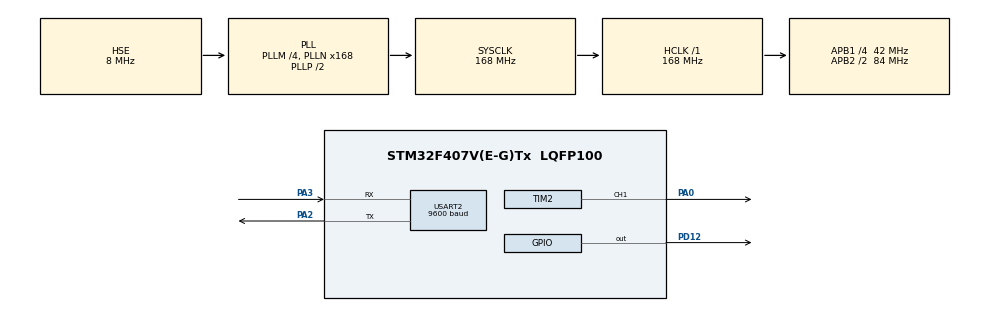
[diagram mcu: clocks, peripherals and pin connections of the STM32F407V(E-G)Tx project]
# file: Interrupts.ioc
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Mcu.Family=STM32F4
Mcu.Name=STM32F407V(E-G)Tx
Mcu.Package=LQFP100
NVIC.PriorityGroup=NVIC_PRIORITYGROUP_4
NVIC.TIM2_IRQn=true\:0\:0\:false\:false\:true\:true
NVIC.USART2_IRQn=true\:0\:0\:false\:false\:true\:true
PA0-WKUP.Signal=S_TIM2_CH1_ETR
PA13.Mode=Serial_Wire
PA13.Signal=SYS_JTMS-SWDIO
PA14.Mode=Serial_Wire
PA14.Signal=SYS_JTCK-SWCLK
PA2.Mode=Asynchronous
PA2.Signal=USART2_TX
PA3.Mode=Asynchronous
PA3.Signal=USART2_RX
PD12.Signal=GPIO_Output
PH0-OSC_IN.Mode=HSE-External-Oscillator
PH0-OSC_IN.Signal=RCC_OSC_IN
PH1-OSC_OUT.Mode=HSE-External-Oscillator
PH1-OSC_OUT.Signal=RCC_OSC_OUT
ProjectManager.HeapSize=0x200
ProjectManager.StackSize=0x400
ProjectManager.TargetToolchain=TrueSTUDIO
RCC.48MHZClocksFreq_Value=84000000
RCC.AHBFreq_Value=168000000
RCC.APB1CLKDivider=RCC_HCLK_DIV4
RCC.APB1Freq_Value=42000000
RCC.APB1TimFreq_Value=84000000
RCC.APB2CLKDivider=RCC_HCLK_DIV2
RCC.APB2Freq_Value=84000000
RCC.APB2TimFreq_Value=168000000
RCC.CortexFreq_Value=168000000
RCC.HCLKFreq_Value=168000000
RCC.HSE_VALUE=8000000
RCC.HSI_VALUE=16000000
RCC.LSE_VALUE=32768
RCC.PLLM=4
RCC.PLLN=168
RCC.PLLSourceVirtual=RCC_PLLSOURCE_HSE
RCC.SYSCLKFreq_VALUE=168000000
RCC.SYSCLKSource=RCC_SYSCLKSOURCE_PLLCLK
RCC.VCOOutputFreq_Value=336000000
SH.S_TIM2_CH1_ETR.0=TIM2_CH1,Output Compare1 CH1
TIM2.Channel-Output\ Compare1\ CH1=TIM_CHANNEL_1
TIM2.OCMode_1=TIM_OCMODE_TOGGLE
TIM2.Period=1999
TIM2.Prescaler=20
TIM2.Pulse-Output\ Compare1\ CH1=1
USART2.BaudRate=9600
USART2.VirtualMode=VM_ASYNC
VP_TIM2_VS_ClockSourceINT.Mode=Internal
board=Interrupts

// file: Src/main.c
/**
  ******************************************************************************
  * File Name          : main.c
  * Description        : Main program body
  ******************************************************************************
  ** This notice applies to any and all portions of this file
  * that are not between comment pairs USER CODE BEGIN and
  * USER CODE END. Other portions of this file, whether
  * inserted by the user or by software development tools
  * are owned by their respective copyright owners.
  *
  * COPYRIGHT(c) 2018 STMicroelectronics
  *
  * Redistribution and use in source and binary forms, with or without modification,
  * are permitted provided that the following conditions are met:
  *   1. Redistributions of source code must retain the above copyright notice,
  *      this list of conditions and the following disclaimer.
  *   2. Redistributions in binary form must reproduce the above copyright notice,
  *      this list of conditions and the following disclaimer in the documentation
  *      and/or other materials provided with the distribution.
  *   3. Neither the name of STMicroelectronics nor the names of its contributors
  *      may be used to endorse or promote products derived from this software
  *      without specific prior written permission.
  *
  * THIS SOFTWARE IS PROVIDED BY THE COPYRIGHT HOLDERS AND CONTRIBUTORS "AS IS"
  * AND ANY EXPRESS OR IMPLIED WARRANTIES, INCLUDING, BUT NOT LIMITED TO, THE
  * IMPLIED WARRANTIES OF MERCHANTABILITY AND FITNESS FOR A PARTICULAR PURPOSE ARE
  * DISCLAIMED. IN NO EVENT SHALL THE COPYRIGHT HOLDER OR CONTRIBUTORS BE LIABLE
  * FOR ANY DIRECT, INDIRECT, INCIDENTAL, SPECIAL, EXEMPLARY, OR CONSEQUENTIAL
  * DAMAGES (INCLUDING, BUT NOT LIMITED TO, PROCUREMENT OF SUBSTITUTE GOODS OR
  * SERVICES; LOSS OF USE, DATA, OR PROFITS; OR BUSINESS INTERRUPTION) HOWEVER
  * CAUSED AND ON ANY THEORY OF LIABILITY, WHETHER IN CONTRACT, STRICT LIABILITY,
  * OR TORT (INCLUDING NEGLIGENCE OR OTHERWISE) ARISING IN ANY WAY OUT OF THE USE
  * OF THIS SOFTWARE, EVEN IF ADVISED OF THE POSSIBILITY OF SUCH DAMAGE.
  *
  ******************************************************************************
  */

#include "main.h"
#include "stm32f4xx_hal.h"

TIM_HandleTypeDef htim2;

UART_HandleTypeDef huart2;

/* USER CODE BEGIN PV */
/* Private variables ---------------------------------------------------------*/
char v_data;
uint8_t v_Buf_u8[10] ={'1','9','9','9'};
uint8_t v_dataCount=0;
uint16_t v_data_u16;
uint8_t UartTick=0;
volatile extern uint8_t v_flag ;
/* USER CODE END PV */

void SystemClock_Config(void);
static void MX_GPIO_Init(void);
static void MX_TIM2_Init(void);
static void MX_USART2_UART_Init(void);
void HAL_TIM_MspPostInit(TIM_HandleTypeDef *htim);

/* USER CODE BEGIN PFP */
/* Private function prototypes -----------------------------------------------*/

/* USER CODE END PFP */

/* USER CODE BEGIN 0 */

uint16_t StringToNum(uint8_t *v_strBuf_u8)
{
	uint8_t  v_index_u8=0;
	uint16_t v_decimal_u16=0;
	for(v_index_u8 =0; v_index_u8 < v_dataCount; v_index_u8 ++)
	{

		v_decimal_u16 = (v_decimal_u16 * 10) + (v_strBuf_u8[v_index_u8] - '0');
	}

	return v_decimal_u16;
}

/* USER CODE END 0 */

int main(void)
{

  /* MCU Configuration----------------------------------------------------------*/

  /* Reset of all peripherals, Initializes the Flash interface and the Systick. */
  HAL_Init();

  /* Configure the system clock */
  SystemClock_Config();

  /* Initialize all configured peripherals */
  MX_GPIO_Init();
  MX_TIM2_Init();
  MX_USART2_UART_Init();

  /* USER CODE BEGIN 2 */

  HAL_TIM_OC_Start(&htim2,TIM_CHANNEL_1);
  SET_BIT(huart2.Instance->CR1,USART_CR1_RXNEIE);
  /* USER CODE END 2 */

  /* Infinite loop */
  while (1)
  {

  /* USER CODE BEGIN 3 */
	  v_flag = v_flag;
	  if(v_flag)
	  {
		  v_flag =0;
	  v_data_u16 = StringToNum(v_Buf_u8);
	  __HAL_TIM_SET_AUTORELOAD(&htim2,v_data_u16);
	  __HAL_TIM_SET_COUNTER(&htim2,0);
	  }

  }
  /* USER CODE END 3 */

}

/** System Clock Configuration
*/
void SystemClock_Config(void)
{

  RCC_OscInitTypeDef RCC_OscInitStruct;
  RCC_ClkInitTypeDef RCC_ClkInitStruct;

    /**Configure the main internal regulator output voltage
    */
  __HAL_RCC_PWR_CLK_ENABLE();

  __HAL_PWR_VOLTAGESCALING_CONFIG(PWR_REGULATOR_VOLTAGE_SCALE1);

    /**Initializes the CPU, AHB and APB busses clocks
    */
  RCC_OscInitStruct.OscillatorType = RCC_OSCILLATORTYPE_HSE;
  RCC_OscInitStruct.HSEState = RCC_HSE_ON;
  RCC_OscInitStruct.PLL.PLLState = RCC_PLL_ON;
  RCC_OscInitStruct.PLL.PLLSource = RCC_PLLSOURCE_HSE;
  RCC_OscInitStruct.PLL.PLLM = 4;
  RCC_OscInitStruct.PLL.PLLN = 168;
  RCC_OscInitStruct.PLL.PLLP = RCC_PLLP_DIV2;
  RCC_OscInitStruct.PLL.PLLQ = 4;
  if (HAL_RCC_OscConfig(&RCC_OscInitStruct) != HAL_OK)
  {
    _Error_Handler(__FILE__, __LINE__);
  }

    /**Initializes the CPU, AHB and APB busses clocks
    */
  RCC_ClkInitStruct.ClockType = RCC_CLOCKTYPE_HCLK|RCC_CLOCKTYPE_SYSCLK
                              |RCC_CLOCKTYPE_PCLK1|RCC_CLOCKTYPE_PCLK2;
  RCC_ClkInitStruct.SYSCLKSource = RCC_SYSCLKSOURCE_PLLCLK;
  RCC_ClkInitStruct.AHBCLKDivider = RCC_SYSCLK_DIV1;
  RCC_ClkInitStruct.APB1CLKDivider = RCC_HCLK_DIV4;
  RCC_ClkInitStruct.APB2CLKDivider = RCC_HCLK_DIV2;

  if (HAL_RCC_ClockConfig(&RCC_ClkInitStruct, FLASH_LATENCY_5) != HAL_OK)
  {
    _Error_Handler(__FILE__, __LINE__);
  }

    /**Configure the Systick interrupt time
    */
  HAL_SYSTICK_Config(HAL_RCC_GetHCLKFreq()/1000);

    /**Configure the Systick
    */
  HAL_SYSTICK_CLKSourceConfig(SYSTICK_CLKSOURCE_HCLK);

  /* SysTick_IRQn interrupt configuration */
  HAL_NVIC_SetPriority(SysTick_IRQn, 0, 0);
}

/* TIM2 init function */
static void MX_TIM2_Init(void)
{

  TIM_ClockConfigTypeDef sClockSourceConfig;
  TIM_MasterConfigTypeDef sMasterConfig;
  TIM_OC_InitTypeDef sConfigOC;

  htim2.Instance = TIM2;
  htim2.Init.Prescaler = 20;
  htim2.Init.CounterMode = TIM_COUNTERMODE_UP;
  htim2.Init.Period = 1999;
  htim2.Init.ClockDivision = TIM_CLOCKDIVISION_DIV1;
  if (HAL_TIM_Base_Init(&htim2) != HAL_OK)
  {
    _Error_Handler(__FILE__, __LINE__);
  }

  sClockSourceConfig.ClockSource = TIM_CLOCKSOURCE_INTERNAL;
  if (HAL_TIM_ConfigClockSource(&htim2, &sClockSourceConfig) != HAL_OK)
  {
    _Error_Handler(__FILE__, __LINE__);
  }

  if (HAL_TIM_OC_Init(&htim2) != HAL_OK)
  {
    _Error_Handler(__FILE__, __LINE__);
  }

  sMasterConfig.MasterOutputTrigger = TIM_TRGO_RESET;
  sMasterConfig.MasterSlaveMode = TIM_MASTERSLAVEMODE_DISABLE;
  if (HAL_TIMEx_MasterConfigSynchronization(&htim2, &sMasterConfig) != HAL_OK)
  {
    _Error_Handler(__FILE__, __LINE__);
  }

  sConfigOC.OCMode = TIM_OCMODE_TOGGLE;
  sConfigOC.Pulse = 1;
  sConfigOC.OCPolarity = TIM_OCPOLARITY_HIGH;
  sConfigOC.OCFastMode = TIM_OCFAST_DISABLE;
  if (HAL_TIM_OC_ConfigChannel(&htim2, &sConfigOC, TIM_CHANNEL_1) != HAL_OK)
  {
    _Error_Handler(__FILE__, __LINE__);
  }

  HAL_TIM_MspPostInit(&htim2);

}

/* USART2 init function */
static void MX_USART2_UART_Init(void)
{

  huart2.Instance = USART2;
  huart2.Init.BaudRate = 9600;
  huart2.Init.WordLength = UART_WORDLENGTH_8B;
  huart2.Init.StopBits = UART_STOPBITS_1;
  huart2.Init.Parity = UART_PARITY_NONE;
  huart2.Init.Mode = UART_MODE_TX_RX;
  huart2.Init.HwFlowCtl = UART_HWCONTROL_NONE;
  huart2.Init.OverSampling = UART_OVERSAMPLING_16;
  if (HAL_UART_Init(&huart2) != HAL_OK)
  {
    _Error_Handler(__FILE__, __LINE__);
  }

}

/** Configure pins as
        * Analog
        * Input
        * Output
        * EVENT_OUT
        * EXTI
*/
static void MX_GPIO_Init(void)
{

  GPIO_InitTypeDef GPIO_InitStruct;

  /* GPIO Ports Clock Enable */
  __HAL_RCC_GPIOH_CLK_ENABLE();
  __HAL_RCC_GPIOA_CLK_ENABLE();
  __HAL_RCC_GPIOD_CLK_ENABLE();

  /*Configure GPIO pin Output Level */
  HAL_GPIO_WritePin(GPIOD, GPIO_PIN_12, GPIO_PIN_RESET);

  /*Configure GPIO pin : PD12 */
  GPIO_InitStruct.Pin = GPIO_PIN_12;
  GPIO_InitStruct.Mode = GPIO_MODE_OUTPUT_PP;
  GPIO_InitStruct.Pull = GPIO_NOPULL;
  GPIO_InitStruct.Speed = GPIO_SPEED_FREQ_LOW;
  HAL_GPIO_Init(GPIOD, &GPIO_InitStruct);

}

void _Error_Handler(char * file, int line)
{
  while(1)
  {
  }
}

/************************ (C) COPYRIGHT STMicroelectronics *****END OF FILE****/
